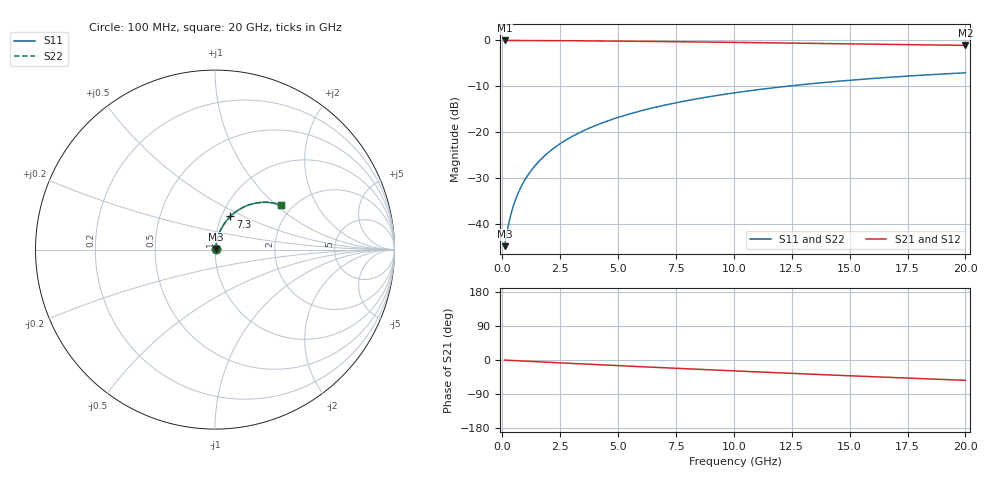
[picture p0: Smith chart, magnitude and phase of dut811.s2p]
! Touchstone file exported from HFSS 2026.1.0
!  File:  C:/ffzhzh/LocalFiles/Ansys_Project_Files/temp_train_BSMRDL_811_1783169883_51560.aedt
!  Generated:  08:59:24 PM Jul  4, 2026
!  Design:  BSMRDL
!  Project:  temp_train_BSMRDL_811_1783169883_51560
! Variables:
!  h_bsmrdl = 5.34um
!  h_ox = 20um
!  h_rdl = 5um
!  h_sub = 80um
!  h_tmrdl = 5um
!  h_tsv = 80um
!  h_via = 3um
!  l_bsmrdl = 866.09um
!  l_sub = 1266.09um
!  l_tmrdl = 200um
!  m_sub = 200um
!  pitch = 31.84um
!  r_tsv = 6um
!  s_tmrdl = 10um
!  w_bsmrdl = 12.2um
!  w_sub = 500um
!  w_tmrdl = 12um
!  x_tsv_center1 = 206um
!  x_tsv_center2 = 1084.29um
!  x_tsv_center3 = 1296.29um
!  x_tsv_center4 = 2174.58um
!  x_tsv_center5 = 2386.58um
!  x_tsv_center6 = 3264.87um
# GHz S MA R 50.000000
! Terminal data exported
! Port[1] = BSM_RDL1_1_T1
! Port[2] = BSM_RDL1_1_T2
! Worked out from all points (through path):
!   200 points, 100 MHz to 20 GHz, reference 50 ohm
!   highest |S21| = -0.04 dB at 100 MHz (marker M1); lowest = -1.1 dB at 20 GHz (marker M2)
!   group delay of S21, straight-line fit = 7.44 ps
!   lowest |S11| = -44.8 dB at 100 MHz (marker M3), VSWR 1.01, Z = 50.5 + j0.323 ohm
!   |S11| at or under -10 dB: start of sweep to 12.32 GHz
!   |S22| runs from -44.8 to -7.1 dB; largest |S21 - S12| = 6.9e-15
!   S11 on the Smith chart (normalised r, x): 100 MHz: 1.01, +0.01; 7.3 GHz: 1.10, +0.42; 20 GHz: 1.73, +1.07
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0.1  0.005727 34.0  0.9953 -0.3  0.9953 -0.3  0.005727 34.0
! Gamma 0 0 0 0
! Port Impedance 50 0 50 0
0.2  0.008027 52.0  0.9951 -0.6  0.9951 -0.6  0.008027 52.0
0.3  0.01071 61.1  0.9949 -0.9  0.9949 -0.9  0.01071 61.1
0.4  0.0135 66.3  0.9948 -1.2  0.9948 -1.2  0.0135 66.3
0.5  0.01635 69.6  0.9946 -1.5  0.9946 -1.5  0.01635 69.6
0.6  0.01922 71.9  0.9945 -1.8  0.9945 -1.8  0.01922 71.9
0.8  0.02504 74.8  0.9942 -2.4  0.9942 -2.4  0.02504 74.8
1.1  0.03384 76.9  0.9937 -3.4  0.9937 -3.4  0.03384 76.9
1.3  0.03973 77.5  0.9933 -4.0  0.9933 -4.0  0.03973 77.5
1.6  0.04856 77.9  0.9927 -4.9  0.9927 -4.9  0.04856 77.9
2.1  0.06321 77.6  0.9914 -6.4  0.9914 -6.4  0.06321 77.6
2.7  0.0806 76.6  0.9895 -8.1  0.9895 -8.1  0.08059 76.6
3.5  0.1033 74.9  0.9864 -10.5  0.9864 -10.5  0.1033 74.9
4.2  0.1228 73.2  0.9833 -12.5  0.9833 -12.5  0.1228 73.2
5  0.1445 71.1  0.9794 -14.9  0.9794 -14.9  0.1445 71.1
6.8  0.1912 66.4  0.9694 -19.9  0.9694 -19.9  0.1912 66.4
7.3  0.2036 65.1  0.9665 -21.3  0.9665 -21.3  0.2036 65.1
8.6  0.235 61.7  0.9583 -24.9  0.9583 -24.9  0.235 61.8
10.1  0.2693 57.9  0.9484 -29.0  0.9484 -29.0  0.2693 57.9
13.4  0.3374 49.7  0.9253 -37.6  0.9253 -37.6  0.3374 49.7
16.7  0.395 41.8  0.9018 -45.8  0.9018 -45.8  0.3949 41.8
20  0.4421 34.2  0.8796 -53.6  0.8796 -53.6  0.442 34.3
